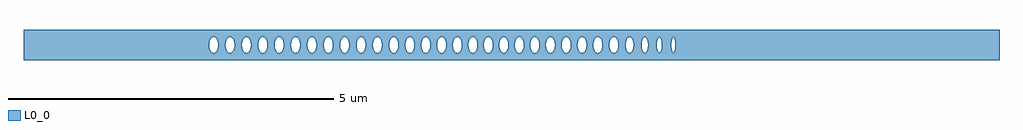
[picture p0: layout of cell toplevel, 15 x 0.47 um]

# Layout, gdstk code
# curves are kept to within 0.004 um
import gdstk
lib = gdstk.Library(unit=1e-6, precision=1e-09)
def P(c, l, *ps):  # polygons
    for p in ps: c.add(gdstk.Polygon(p, *l))
L0_0 = (0, 0)

toplevel = lib.new_cell('toplevel')
P(toplevel, L0_0, [(-4.125,-0.235),(-4.125,-0.085),(-4.144,-0.016),(-4.141,0.038),(-4.125,0.085),(-4.125,0.235),(-7.5,0.235),(-7.5,-0.008),(-4.648,-0.008),(-4.643,0.046),(-4.629,0.085),(-4.611,0.109),(-4.582,0.124),(-4.555,0.118),(-4.532,0.096),(-4.513,0.053),(-4.507,-0.008),(-4.396,-0.008),(-4.394,0.031),(-4.38,0.079),(-4.359,0.109),(-4.33,0.124),(-4.304,0.118),(-4.277,0.09),(-4.26,0.046),(-4.255,0.008),(-4.258,-0.038),(-4.268,-0.073),(-4.295,-0.112),(-4.321,-0.124),(-4.347,-0.118),(-4.374,-0.09),(-4.391,-0.046),(-4.396,-0.008),(-4.507,-0.008),(-4.513,-0.053),(-4.532,-0.096),(-4.555,-0.118),(-4.573,-0.124),(-4.599,-0.118),(-4.622,-0.096),(-4.639,-0.06),(-4.648,-0.008),(-7.5,-0.008),(-7.5,-0.235)],
  [(-3.64,0.016),(-3.632,0.06),(-3.615,0.096),(-3.592,0.118),(-3.561,0.123),(-3.561,0.235),(-4.125,0.235),(-4.125,0.085),(-4.108,0.109),(-4.087,0.122),(-4.061,0.122),(-4.04,0.109),(-4.012,0.06),(-4.004,-0.016),(-3.892,-0.016),(-3.888,0.046),(-3.879,0.073),(-3.856,0.109),(-3.826,0.124),(-3.8,0.118),(-3.777,0.096),(-3.76,0.06),(-3.752,0.016),(-3.756,-0.046),(-3.765,-0.073),(-3.784,-0.105),(-3.809,-0.122),(-3.835,-0.122),(-3.86,-0.105),(-3.882,-0.066),(-3.892,-0.016),(-4.004,-0.016),(-4.022,-0.085),(-4.04,-0.109),(-4.061,-0.122),(-4.096,-0.118),(-4.125,-0.085),(-4.125,-0.235),(-3.561,-0.235),(-3.561,-0.123),(-3.592,-0.118),(-3.622,-0.085),(-3.639,-0.031)],
  [(-3.561,0.235),(-3.561,0.123),(-3.536,0.109),(-3.513,0.073),(-3.503,0.038),(-3.5,-0.008),(-3.389,-0.008),(-3.386,0.038),(-3.376,0.073),(-3.349,0.112),(-3.323,0.124),(-3.297,0.118),(-3.27,0.09),(-3.253,0.046),(-3.248,0.008),(-3.25,-0.031),(-3.264,-0.079),(-3.285,-0.109),(-3.314,-0.124),(-3.34,-0.118),(-3.367,-0.09),(-3.384,-0.046),(-3.389,-0.008),(-3.5,-0.008),(-3.503,-0.038),(-3.519,-0.085),(-3.536,-0.109),(-3.561,-0.123),(-3.561,-0.235),(-3.005,-0.235),(-3.005,-0.06),(-3.033,-0.109),(-3.054,-0.122),(-3.08,-0.122),(-3.101,-0.109),(-3.118,-0.085),(-3.131,-0.053),(-3.137,-0.016),(-3.129,0.06),(-3.112,0.096),(-3.089,0.118),(-3.071,0.124),(-3.045,0.118),(-3.022,0.096),(-3.005,0.06),(-3.005,0.235)],
  [(-2.997,-0.016),(-3.005,-0.06),(-3.005,-0.235),(-2.379,-0.235),(-2.379,0.235),(-3.005,0.235),(-3.005,0.059),(-2.996,0),(-2.886,0),(-2.881,0.046),(-2.86,0.096),(-2.837,0.118),(-2.811,0.124),(-2.781,0.109),(-2.764,0.085),(-2.751,0.053),(-2.745,-0.008),(-2.634,-0.008),(-2.625,0.06),(-2.601,0.105),(-2.568,0.124),(-2.55,0.122),(-2.529,0.109),(-2.502,0.06),(-2.493,-0.016),(-2.512,-0.085),(-2.529,-0.109),(-2.55,-0.122),(-2.577,-0.122),(-2.608,-0.096),(-2.625,-0.06),(-2.634,-0.008),(-2.745,-0.008),(-2.751,-0.053),(-2.77,-0.096),(-2.793,-0.118),(-2.811,-0.124),(-2.837,-0.118),(-2.86,-0.096),(-2.881,-0.046),(-2.886,0),(-2.996,0)],
  [(-2.377,0.046),(-2.369,0.073),(-2.346,0.109),(-2.325,0.122),(-2.307,0.124),(-2.278,0.109),(-2.26,0.085),(-2.246,0.046),(-2.241,-0.008),(-2.131,-0.008),(-2.126,0.046),(-2.112,0.085),(-2.082,0.118),(-2.056,0.124),(-2.026,0.109),(-2.003,0.073),(-1.993,0.038),(-1.99,-0.016),(-1.998,-0.06),(-2.015,-0.096),(-2.038,-0.118),(-2.056,-0.124),(-2.082,-0.118),(-2.105,-0.096),(-2.122,-0.06),(-2.131,-0.008),(-2.241,-0.008),(-2.246,-0.046),(-2.26,-0.085),(-2.278,-0.109),(-2.307,-0.124),(-2.333,-0.118),(-2.357,-0.096),(-2.379,-0.038),(-2.379,-0.235),(-1.832,-0.235),(-1.832,-0.118),(-1.848,-0.105),(-1.867,-0.073),(-1.88,-0.016),(-1.872,0.06),(-1.855,0.096),(-1.832,0.118),(-1.832,0.235),(-2.379,0.235)],
  [(-1.823,0.122),(-1.792,0.12),(-1.765,0.096),(-1.744,0.046),(-1.74,-0.016),(-1.632,-0.016),(-1.629,0.038),(-1.607,0.096),(-1.575,0.122),(-1.548,0.122),(-1.524,0.105),(-1.507,0.079),(-1.493,0.031),(-1.491,-0.008),(-1.496,-0.046),(-1.51,-0.085),(-1.528,-0.109),(-1.557,-0.124),(-1.583,-0.118),(-1.607,-0.096),(-1.619,-0.073),(-1.632,-0.016),(-1.74,-0.016),(-1.75,-0.066),(-1.772,-0.105),(-1.801,-0.123),(-1.832,-0.118),(-1.832,-0.235),(-1.271,-0.235),(-1.271,-0.096),(-1.303,-0.122),(-1.338,-0.118),(-1.354,-0.105),(-1.373,-0.073),(-1.386,-0.016),(-1.378,0.06),(-1.35,0.109),(-1.329,0.122),(-1.311,0.124),(-1.294,0.118),(-1.271,0.096),(-1.271,0.235),(-1.832,0.235),(-1.832,0.118)],
  [(-1.271,0.235),(-1.271,0.096),(-1.25,0.046),(-1.246,-0.016),(-1.143,-0.016),(-1.14,0.038),(-1.13,0.073),(-1.107,0.109),(-1.077,0.124),(-1.051,0.118),(-1.024,0.09),(-1.007,0.046),(-1.002,0.008),(-1.004,-0.031),(-1.018,-0.079),(-1.039,-0.109),(-1.068,-0.124),(-1.094,-0.118),(-1.118,-0.096),(-1.13,-0.073),(-1.143,-0.016),(-1.246,-0.016),(-1.254,-0.06),(-1.271,-0.096),(-1.271,-0.235),(-0.762,-0.235),(-0.762,-0.016),(-0.77,-0.06),(-0.787,-0.096),(-0.81,-0.118),(-0.828,-0.124),(-0.854,-0.118),(-0.877,-0.096),(-0.894,-0.06),(-0.902,-0.016),(-0.898,0.046),(-0.889,0.073),(-0.87,0.105),(-0.841,0.123),(-0.81,0.118),(-0.787,0.096),(-0.77,0.06),(-0.762,0.016),(-0.762,0.235)],
  [(-0.167,-0.235),(-0.167,-0.09),(-0.189,-0.016),(-0.186,0.038),(-0.167,0.09),(-0.167,0.235),(-0.762,0.235),(-0.762,-0.008),(-0.664,-0.008),(-0.662,0.031),(-0.648,0.079),(-0.627,0.109),(-0.598,0.124),(-0.567,0.115),(-0.542,0.085),(-0.526,0.038),(-0.523,-0.016),(-0.426,-0.016),(-0.423,0.038),(-0.413,0.073),(-0.39,0.109),(-0.36,0.124),(-0.334,0.118),(-0.304,0.085),(-0.29,0.046),(-0.285,0),(-0.29,-0.046),(-0.304,-0.085),(-0.322,-0.109),(-0.351,-0.124),(-0.378,-0.118),(-0.401,-0.096),(-0.418,-0.06),(-0.426,-0.016),(-0.523,-0.016),(-0.536,-0.073),(-0.548,-0.096),(-0.572,-0.118),(-0.598,-0.124),(-0.627,-0.109),(-0.645,-0.085),(-0.659,-0.046),(-0.664,-0.008),(-0.762,-0.008),(-0.762,-0.235)],
  [(-0.16,0.1),(-0.145,0.115),(-0.123,0.124),(-0.105,0.122),(-0.081,0.105),(-0.064,0.079),(-0.053,0.046),(-0.049,-0.016),(0.049,-0.016),(0.055,0.053),(0.074,0.096),(0.097,0.118),(0.132,0.122),(0.157,0.105),(0.176,0.073),(0.19,0),(0.176,-0.073),(0.157,-0.105),(0.132,-0.122),(0.106,-0.122),(0.081,-0.105),(0.057,-0.06),(0.049,-0.016),(-0.049,-0.016),(-0.067,-0.085),(-0.085,-0.109),(-0.105,-0.122),(-0.123,-0.124),(-0.14,-0.118),(-0.167,-0.09),(-0.167,-0.235),(0.363,-0.235),(0.363,-0.124),(0.336,-0.118),(0.313,-0.096),(0.296,-0.06),(0.288,-0.016),(0.291,0.038),(0.307,0.085),(0.336,0.118),(0.363,0.124),(0.363,0.235),(-0.167,0.235),(-0.167,0.09)],
  [(0.772,0.016),(0.787,0.079),(0.82,0.118),(0.837,0.124),(0.855,0.122),(0.876,0.109),(0.893,0.085),(0.893,0.235),(0.363,0.235),(0.363,0.124),(0.392,0.109),(0.41,0.085),(0.424,0.046),(0.428,-0.016),(0.529,-0.016),(0.532,0.038),(0.542,0.073),(0.565,0.109),(0.595,0.124),(0.621,0.118),(0.644,0.096),(0.661,0.06),(0.67,0.008),(0.665,-0.046),(0.651,-0.085),(0.633,-0.109),(0.604,-0.124),(0.577,-0.118),(0.554,-0.096),(0.537,-0.06),(0.529,-0.016),(0.428,-0.016),(0.41,-0.085),(0.392,-0.109),(0.363,-0.124),(0.363,-0.235),(0.893,-0.235),(0.893,-0.085),(0.876,-0.109),(0.855,-0.122),(0.828,-0.122),(0.808,-0.109),(0.78,-0.06),(0.772,-0.023)],
  [(1.502,0),(1.503,0.235),(0.893,0.235),(0.893,0.085),(0.909,0.038),(0.912,-0.008),(1.014,-0.008),(1.016,0.031),(1.03,0.079),(1.051,0.109),(1.08,0.124),(1.106,0.118),(1.13,0.096),(1.152,0.038),(1.155,-0.008),(1.257,-0.008),(1.26,0.038),(1.273,0.079),(1.294,0.109),(1.323,0.124),(1.349,0.118),(1.376,0.09),(1.393,0.046),(1.398,0.008),(1.395,-0.038),(1.385,-0.073),(1.358,-0.112),(1.332,-0.124),(1.306,-0.118),(1.279,-0.09),(1.262,-0.046),(1.257,-0.008),(1.155,-0.008),(1.15,-0.046),(1.13,-0.096),(1.111,-0.115),(1.089,-0.124),(1.063,-0.118),(1.036,-0.09),(1.019,-0.046),(1.014,-0.008),(0.912,-0.008),(0.909,-0.038),(0.893,-0.085),(0.893,-0.235),(1.503,-0.235)],
  [(1.505,0.031),(1.513,0.066),(1.531,0.1),(1.551,0.118),(1.577,0.124),(1.607,0.109),(1.63,0.073),(1.64,0.038),(1.643,-0.015),(1.756,-0.015),(1.757,0.031),(1.769,0.078),(1.79,0.111),(1.82,0.123),(1.842,0.111),(1.858,0.09),(1.874,0.038),(1.877,-0.008),(1.871,-0.052),(1.858,-0.09),(1.842,-0.111),(1.82,-0.123),(1.797,-0.117),(1.775,-0.09),(1.761,-0.052),(1.756,-0.015),(1.643,-0.015),(1.635,-0.06),(1.618,-0.096),(1.595,-0.118),(1.56,-0.122),(1.539,-0.109),(1.522,-0.085),(1.507,-0.046),(1.503,-0.016),(1.503,-0.235),(2.056,-0.235),(2.056,-0.121),(2.04,-0.12),(2.019,-0.099),(2.006,-0.065),(1.999,-0.015),(2.001,0.038),(2.012,0.084),(2.034,0.116),(2.056,0.121),(2.056,0.235),(1.503,0.235)],
  [(2.099,-0.015),(2.094,-0.059),(2.082,-0.094),(2.056,-0.121),(2.056,-0.235),(7.5,-0.235),(7.5,0.235),(2.056,0.235),(2.056,0.121),(2.074,0.107),(2.086,0.084),(2.1,0),(2.231,0),(2.244,0.088),(2.257,0.113),(2.27,0.121),(2.29,0.11),(2.304,0.077),(2.312,0.03),(2.312,-0.022),(2.458,-0.022),(2.459,0.037),(2.477,0.112),(2.487,0.12),(2.5,0.112),(2.514,0.071),(2.519,0.022),(2.516,-0.058),(2.507,-0.097),(2.491,-0.12),(2.483,-0.118),(2.472,-0.101),(2.458,-0.022),(2.312,-0.022),(2.296,-0.098),(2.285,-0.115),(2.27,-0.121),(2.257,-0.113),(2.244,-0.088),(2.231,0),(2.1,0)])

lib.write_gds('toplevel.gds')
